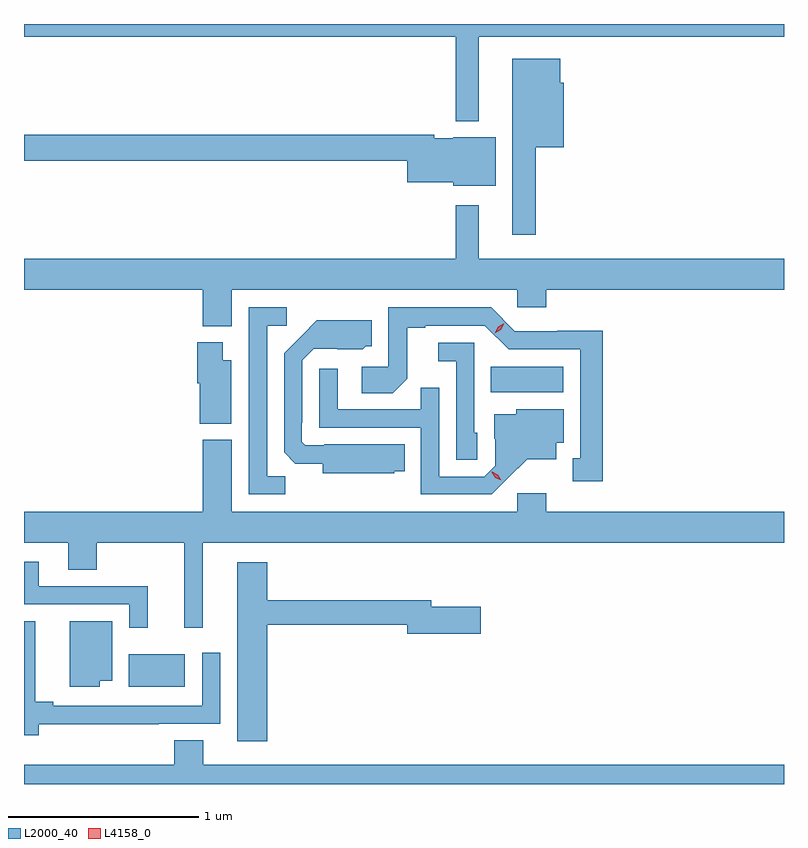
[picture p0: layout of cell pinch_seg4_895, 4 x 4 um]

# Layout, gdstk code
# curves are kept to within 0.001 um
import gdstk
lib = gdstk.Library(unit=1e-6, precision=1e-09)
def R(c, l, rs):  # rectangles x0, y0, x1, y1
    for r in rs: c.add(gdstk.rectangle(r[:2], r[2:], *l))
def P(c, l, *ps):  # polygons
    for p in ps: c.add(gdstk.Polygon(p, *l))
L2000_40 = (2000, 40)
L4158_0 = (4158, 0)

pinch_seg4_895 = lib.new_cell('pinch_seg4_895')
R(pinch_seg4_895, L2000_40, [(708.446,825.368,708.739,825.538), (710.35,826.916,710.731,827.05)])
P(pinch_seg4_895, L2000_40, [(710.287,828.788),(711.894,828.788),(711.894,828.855),(707.894,828.855),(707.894,828.788),(710.166,828.788),(710.166,828.344),(710.287,828.344)],
  [(710.587,828.206),(710.734,828.206),(710.734,828.546),(710.716,828.546),(710.716,828.673),(710.465,828.673),(710.465,827.745),(710.587,827.745)],
  [(710.377,828.259),(710.154,828.259),(710.154,828.253),(710.054,828.253),(710.054,828.272),(707.894,828.272),(707.894,828.136),(709.91,828.136),(709.91,828.023),(710.154,828.023),(710.154,828.005),(710.377,828.005)],
  [(708.988,827.456),(710.49,827.456),(710.49,827.363),(710.642,827.363),(710.642,827.456),(711.894,827.456),(711.894,827.62),(710.287,827.62),(710.287,827.902),(710.166,827.902),(710.166,827.62),(707.894,827.62),(707.894,827.456),(708.836,827.456),(708.836,827.264),(708.988,827.264)],
  [(709.269,826.475),(709.173,826.475),(709.173,827.268),(709.276,827.268),(709.276,827.364),(709.077,827.364),(709.077,826.38),(709.269,826.38)],
  [(710.941,827.24),(710.7,827.24),(710.7,827.238),(710.478,827.238),(710.352,827.364),(709.812,827.364),(709.812,827.052),(709.671,827.052),(709.671,826.912),(709.835,826.912),(709.911,826.988),(709.911,827.256),(710.005,827.256),(710.005,827.268),(710.319,827.268),(710.445,827.142),(710.822,827.142),(710.822,826.569),(710.783,826.569),(710.783,826.449),(710.941,826.449)],
  [(709.842,826.502),(709.898,826.502),(709.898,826.642),(709.474,826.642),(709.474,826.638),(709.374,826.638),(709.356,826.656),(709.356,826.756),(709.359,826.756),(709.359,827.085),(709.419,827.145),(709.676,827.144),(709.692,827.16),(709.723,827.16),(709.723,827.296),(709.435,827.296),(709.263,827.122),(709.263,826.6),(709.322,826.541),(709.466,826.541),(709.466,826.49),(709.842,826.49)],
  [(708.985,827.086),(708.94,827.086),(708.94,827.179),(708.806,827.179),(708.806,826.965),(708.818,826.965),(708.818,826.751),(708.985,826.751)],
  [(710.28,826.704),(710.265,826.704),(710.265,827.178),(710.073,827.178),(710.073,827.081),(710.169,827.081),(710.169,826.561),(710.28,826.561)],
  [(710.44,826.463),(710.543,826.565),(710.695,826.565),(710.695,826.652),(710.734,826.652),(710.734,826.828),(710.484,826.828),(710.484,826.801),(710.369,826.801),(710.369,826.672),(710.373,826.672),(710.373,826.53),(710.316,826.473),(710.079,826.473),(710.079,826.94),(709.981,826.94),(709.981,826.827),(709.545,826.827),(709.545,827.041),(709.449,827.041),(709.449,826.731),(709.983,826.731),(709.983,826.38),(710.356,826.38)],
  [(708.836,826.124),(711.894,826.124),(711.894,826.288),(710.642,826.288),(710.642,826.384),(710.49,826.384),(710.49,826.288),(708.988,826.288),(708.988,826.666),(708.836,826.666),(708.836,826.288),(707.894,826.288),(707.894,826.124),(708.128,826.124),(708.128,825.982),(708.276,825.982),(708.276,826.124),(708.737,826.124),(708.737,825.678),(708.836,825.678)],
  [(708.545,825.897),(707.971,825.897),(707.971,826.024),(707.894,826.024),(707.894,825.801),(708.447,825.801),(708.447,825.678),(708.545,825.678)],
  [(709.175,825.694),(709.91,825.694),(709.91,825.647),(710.299,825.647),(710.299,825.789),(710.038,825.789),(710.038,825.823),(709.175,825.823),(709.175,826.021),(709.016,826.021),(709.016,825.081),(709.175,825.081)],
  [(708.292,825.398),(708.358,825.398),(708.358,825.712),(708.134,825.712),(708.134,825.368),(708.292,825.368)],
  [(707.972,825.17),(708.602,825.17),(708.602,825.171),(708.927,825.171),(708.927,825.547),(708.831,825.547),(708.831,825.267),(708.049,825.267),(708.049,825.287),(707.954,825.287),(707.954,825.711),(707.894,825.711),(707.894,825.111),(707.972,825.111)],
  [(711.894,824.956),(708.838,824.956),(708.838,825.086),(708.686,825.086),(708.686,824.956),(707.894,824.956),(707.894,824.855),(711.894,824.855)])
P(pinch_seg4_895, L4158_0, [(710.406,826.454),(710.375,826.468),(710.357,826.497),(710.357,826.498),(710.358,826.498),(710.388,826.483),(710.406,826.454),(710.406,826.454)],
  [(710.372,827.228),(710.372,827.228),(710.389,827.261),(710.421,827.28),(710.421,827.28),(710.421,827.28),(710.404,827.247),(710.372,827.228)])

lib.write_gds('pinch_seg4_895.gds')
